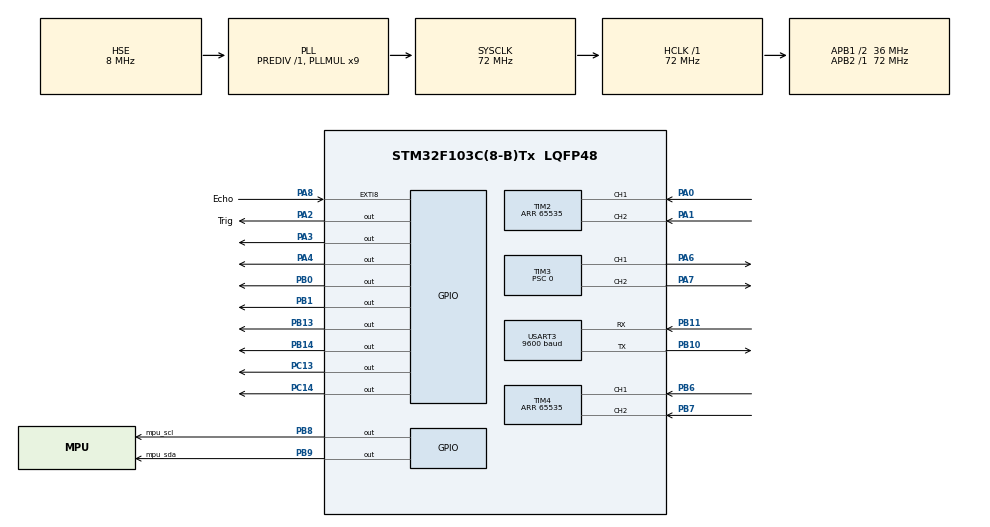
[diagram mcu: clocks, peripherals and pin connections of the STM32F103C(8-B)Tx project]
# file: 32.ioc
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Dma.Request0=USART3_RX
Dma.Request1=USART3_TX
Dma.USART3_RX.0.Direction=DMA_PERIPH_TO_MEMORY
Dma.USART3_RX.0.Instance=DMA1_Channel3
Dma.USART3_RX.0.MemDataAlignment=DMA_MDATAALIGN_BYTE
Dma.USART3_RX.0.MemInc=DMA_MINC_ENABLE
Dma.USART3_RX.0.Mode=DMA_NORMAL
Dma.USART3_RX.0.PeriphDataAlignment=DMA_PDATAALIGN_BYTE
Dma.USART3_RX.0.PeriphInc=DMA_PINC_DISABLE
Dma.USART3_RX.0.Priority=DMA_PRIORITY_LOW
Dma.USART3_TX.1.Direction=DMA_MEMORY_TO_PERIPH
Dma.USART3_TX.1.Instance=DMA1_Channel2
Dma.USART3_TX.1.MemDataAlignment=DMA_MDATAALIGN_BYTE
Dma.USART3_TX.1.MemInc=DMA_MINC_ENABLE
Dma.USART3_TX.1.Mode=DMA_NORMAL
Dma.USART3_TX.1.PeriphDataAlignment=DMA_PDATAALIGN_BYTE
Dma.USART3_TX.1.PeriphInc=DMA_PINC_DISABLE
Dma.USART3_TX.1.Priority=DMA_PRIORITY_LOW
FREERTOS.Tasks01=Task_200HZ,1,128,StartTask_200HZ,Default,NULL,Dynamic,NULL,NULL;Task_100HZ,-3,128,StartTask_100HZ,Default,NULL,Dynamic,NULL,NULL;Task_5HZ,-3,128,StartTask_5HZ,Default,NULL,Dynamic,NULL,NULL;Task_Interactio,-3,128,StartTask_Interaction,Default,NULL,Dynamic,NULL,NULL;sw1_pwm_task,-3,128,Start_sw_1Task,Default,NULL,Dynamic,NULL,NULL
FREERTOS.configTOTAL_HEAP_SIZE=10000
Mcu.Family=STM32F1
Mcu.Name=STM32F103C(8-B)Tx
Mcu.Package=LQFP48
NVIC.DMA1_Channel2_IRQn=true\:5\:0\:false\:false\:true\:true\:false\:true\:true
NVIC.DMA1_Channel3_IRQn=true\:5\:0\:false\:false\:true\:true\:false\:true\:true
NVIC.EXTI9_5_IRQn=true\:5\:0\:false\:false\:true\:true\:true\:true\:true
NVIC.PriorityGroup=NVIC_PRIORITYGROUP_4
NVIC.TIM1_UP_IRQn=true\:0\:0\:false\:false\:true\:false\:false\:true\:true
NVIC.TIM3_IRQn=true\:5\:0\:false\:false\:true\:true\:true\:true\:true
NVIC.TimeBase=TIM1_UP_IRQn
NVIC.TimeBaseIP=TIM1
NVIC.USART3_IRQn=true\:5\:0\:false\:false\:true\:true\:true\:true\:true
PA0-WKUP.Signal=S_TIM2_CH1_ETR
PA1.Signal=S_TIM2_CH2
PA13.Mode=Serial_Wire
PA13.Signal=SYS_JTMS-SWDIO
PA14.Mode=Serial_Wire
PA14.Signal=SYS_JTCK-SWCLK
PA2.GPIO_Label=Trig
PA2.Signal=GPIO_Output
PA3.GPIO_ModeDefaultOutputPP=GPIO_MODE_OUTPUT_PP
PA3.PinState=GPIO_PIN_RESET
PA3.Signal=GPIO_Output
PA4.GPIO_ModeDefaultOutputPP=GPIO_MODE_OUTPUT_PP
PA4.Signal=GPIO_Output
PA6.Signal=S_TIM3_CH1
PA7.Signal=S_TIM3_CH2
PA8.GPIO_Label=Echo
PA8.GPIO_ModeDefaultEXTI=GPIO_MODE_IT_RISING_FALLING
PA8.Signal=GPXTI8
PB0.Signal=GPIO_Output
PB1.GPIO_ModeDefaultOutputPP=GPIO_MODE_OUTPUT_PP
PB1.Signal=GPIO_Output
PB10.Mode=Asynchronous
PB10.Signal=USART3_TX
PB11.Mode=Asynchronous
PB11.Signal=USART3_RX
PB13.Signal=GPIO_Output
PB14.Signal=GPIO_Output
PB6.Signal=S_TIM4_CH1
PB7.Signal=S_TIM4_CH2
PB8.GPIO_Label=mpu_scl
PB8.GPIO_PuPd=GPIO_PULLUP
PB8.PinState=GPIO_PIN_SET
PB8.Signal=GPIO_Output
PB9.GPIO_Label=mpu_sda
PB9.GPIO_PuPd=GPIO_PULLUP
PB9.PinState=GPIO_PIN_SET
PB9.Signal=GPIO_Output
PC13-TAMPER-RTC.Signal=GPIO_Output
PC14-OSC32_IN.Signal=GPIO_Output
PD0-OSC_IN.Mode=HSE-External-Oscillator
PD0-OSC_IN.Signal=RCC_OSC_IN
PD1-OSC_OUT.Mode=HSE-External-Oscillator
PD1-OSC_OUT.Signal=RCC_OSC_OUT
ProjectManager.HeapSize=0x200
ProjectManager.StackSize=0x400
ProjectManager.TargetToolchain=MDK-ARM V5
RCC.AHBFreq_Value=72000000
RCC.APB1CLKDivider=RCC_HCLK_DIV2
RCC.APB1Freq_Value=36000000
RCC.APB1TimFreq_Value=72000000
RCC.APB2Freq_Value=72000000
RCC.APB2TimFreq_Value=72000000
RCC.HCLKFreq_Value=72000000
RCC.PLLMUL=RCC_PLL_MUL9
RCC.PLLSourceVirtual=RCC_PLLSOURCE_HSE
RCC.SYSCLKFreq_VALUE=72000000
RCC.SYSCLKSource=RCC_SYSCLKSOURCE_PLLCLK
RCC.USBFreq_Value=72000000
SH.S_TIM2_CH1_ETR.0=TIM2_CH1,Encoder_Interface
SH.S_TIM2_CH2.0=TIM2_CH2,Encoder_Interface
SH.S_TIM3_CH1.0=TIM3_CH1,PWM Generation1 CH1
SH.S_TIM3_CH2.0=TIM3_CH2,PWM Generation2 CH2
SH.S_TIM4_CH1.0=TIM4_CH1,Encoder_Interface
SH.S_TIM4_CH2.0=TIM4_CH2,Encoder_Interface
TIM2.EncoderMode=TIM_ENCODERMODE_TI12
TIM2.Period=65535
TIM3.Channel-PWM\ Generation1\ CH1=TIM_CHANNEL_1
TIM3.Channel-PWM\ Generation2\ CH2=TIM_CHANNEL_2
TIM3.Channel-PWM\ Generation3\ No\ Output=TIM_CHANNEL_3
TIM3.Channel-PWM\ Generation4\ No\ Output=TIM_CHANNEL_4
TIM3.Period=8000-1
TIM3.Prescaler=0
TIM4.EncoderMode=TIM_ENCODERMODE_TI12
TIM4.Period=65535
USART3.BaudRate=9600
USART3.VirtualMode=VM_ASYNC
VP_FREERTOS_VS_CMSIS_V1.Mode=CMSIS_V1
VP_SYS_VS_tim1.Mode=TIM1
VP_TIM3_VS_no_output3.Mode=PWM Generation3 No Output
VP_TIM3_VS_no_output4.Mode=PWM Generation4 No Output
board=custom

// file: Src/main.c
/* USER CODE BEGIN Header */
/**
  ******************************************************************************
  * @file           : main.c
  * @brief          : Main program body
  ******************************************************************************
  * @attention
  *
  * <h2><center>&copy; Copyright (c) 2022 STMicroelectronics.
  * All rights reserved.</center></h2>
  *
  * This software component is licensed by ST under BSD 3-Clause license,
  * the "License"; You may not use this file except in compliance with the
  * License. You may obtain a copy of the License at:
  *                        opensource.org/licenses/BSD-3-Clause
  *
  ******************************************************************************
  */
/* USER CODE END Header */

#include "main.h"
#include "cmsis_os.h"
#include "dma.h"
#include "tim.h"
#include "usart.h"
#include "gpio.h"

/* USER CODE BEGIN Includes */
#include "math.h"
#include "stdio.h"
#include "echo.h"
#include "delay.h"
#include "my_usart.h"
/* USER CODE END Includes */

/* USER CODE BEGIN PV */
double brightNess ;
short temp_mpu;
uint8_t buf[5];
/* USER CODE END PV */

void SystemClock_Config(void);
void MX_FREERTOS_Init(void);

/* USER CODE BEGIN 0 */
int fputc(int ch,FILE *fp)
{
    while(!(USART3->SR&(1<<7)));

    USART3->DR = ch;
    return ch;
}
/**
  * 函数功能: 重定向c库函数getchar,scanf到DEBUG_USARTx
  * 输入参数: 无
  * 返 回 值: 无
  * 说    明：无
  */
int fgetc(FILE *f)
{
    uint8_t ch = 0;
    HAL_UART_Receive(&huart3, &ch, 1, 0xffff);
    return ch;
}
/* USER CODE END 0 */

int main(void)
{

  /* MCU Configuration--------------------------------------------------------*/

  /* Reset of all peripherals, Initializes the Flash interface and the Systick. */

  	HAL_Init();

  /* Configure the system clock */
  SystemClock_Config();

  /* Initialize all configured peripherals */
  MX_GPIO_Init();
  MX_DMA_Init();
  MX_TIM3_Init();
  MX_TIM2_Init();
  MX_USART3_UART_Init();
  MX_TIM4_Init();
  /* USER CODE BEGIN 2 */
    //	HAL_TIM_IC_Start_IT(&htim1, TIM_CHANNEL_4);//超声波中断
    printf("Hello,this is zbz's banlance car.\n");
		User_USART_Init(&BT_Data);
		// 加入DMA空闲中断
    HAL_UART_Receive_DMA(&huart3,BT_Data.RxBuffer,RXBUFFER_LEN);
		__HAL_UART_ENABLE_IT(&huart3,UART_IT_IDLE);//开启串口空闲中断

    __HAL_TIM_ENABLE_IT(&htim3, TIM_IT_UPDATE);
    HAL_TIM_PWM_Start (&htim3,TIM_CHANNEL_1);
    HAL_TIM_PWM_Start (&htim3,TIM_CHANNEL_2);
    HAL_TIM_PWM_Start_IT(&htim3,TIM_CHANNEL_3 );
    HAL_TIM_PWM_Start_IT (&htim3,TIM_CHANNEL_4 );
    HAL_TIM_Encoder_Start(&htim2, TIM_CHANNEL_ALL);//启动左编码器
    HAL_TIM_Encoder_Start(&htim4, TIM_CHANNEL_ALL);//启动右编码器

  /* USER CODE END 2 */

  /* Call init function for freertos objects (in freertos.c) */
  MX_FREERTOS_Init();
  /* Start scheduler */
  osKernelStart();

  /* We should never get here as control is now taken by the scheduler */
  /* Infinite loop */
  /* USER CODE BEGIN WHILE */
    while (1)
    {

//        if(normalspeed == 0)
//            dir = 1;
//        else if(normalspeed == maxspeed)
//            dir = 0;
//        if(dir ==1)
//            normalspeed++;
//        else
//            normalspeed--;
//				__HAL_TIM_SET_COMPARE(&htim3,TIM_CHANNEL_1,normalspeed );
//				__HAL_TIM_SET_COMPARE(&htim3,TIM_CHANNEL_2,normalspeed );
//				HAL_GPIO_WritePin(GPIOB,GPIO_PIN_0,GPIO_PIN_RESET);
//				HAL_GPIO_WritePin(GPIOB,GPIO_PIN_0,GPIO_PIN_RESET);
//
//				HAL_GPIO_WritePin(GPIOA,GPIO_PIN_3,GPIO_PIN_RESET);
//				HAL_GPIO_WritePin(GPIOA,GPIO_PIN_4,GPIO_PIN_RESET);
//        HAL_Delay(100);

    /* USER CODE END WHILE */

    }
}

void SystemClock_Config(void)
{
  RCC_OscInitTypeDef RCC_OscInitStruct = {0};
  RCC_ClkInitTypeDef RCC_ClkInitStruct = {0};

  /** Initializes the CPU, AHB and APB busses clocks
  */
  RCC_OscInitStruct.OscillatorType = RCC_OSCILLATORTYPE_HSE;
  RCC_OscInitStruct.HSEState = RCC_HSE_ON;
  RCC_OscInitStruct.HSEPredivValue = RCC_HSE_PREDIV_DIV1;
  RCC_OscInitStruct.HSIState = RCC_HSI_ON;
  RCC_OscInitStruct.PLL.PLLState = RCC_PLL_ON;
  RCC_OscInitStruct.PLL.PLLSource = RCC_PLLSOURCE_HSE;
  RCC_OscInitStruct.PLL.PLLMUL = RCC_PLL_MUL9;
  if (HAL_RCC_OscConfig(&RCC_OscInitStruct) != HAL_OK)
  {
    Error_Handler();
  }
  /** Initializes the CPU, AHB and APB busses clocks
  */
  RCC_ClkInitStruct.ClockType = RCC_CLOCKTYPE_HCLK|RCC_CLOCKTYPE_SYSCLK
                              |RCC_CLOCKTYPE_PCLK1|RCC_CLOCKTYPE_PCLK2;
  RCC_ClkInitStruct.SYSCLKSource = RCC_SYSCLKSOURCE_PLLCLK;
  RCC_ClkInitStruct.AHBCLKDivider = RCC_SYSCLK_DIV1;
  RCC_ClkInitStruct.APB1CLKDivider = RCC_HCLK_DIV2;
  RCC_ClkInitStruct.APB2CLKDivider = RCC_HCLK_DIV1;

  if (HAL_RCC_ClockConfig(&RCC_ClkInitStruct, FLASH_LATENCY_2) != HAL_OK)
  {
    Error_Handler();
  }
}

/* USER CODE BEGIN 4 */
void HAL_TIM_PWM_PulseFinishedCallback(TIM_HandleTypeDef *htim)
{
    if(htim->Channel == HAL_TIM_ACTIVE_CHANNEL_3)
    {

        GPIOA->BRR = GPIO_PIN_3;
    } else if(htim->Channel == HAL_TIM_ACTIVE_CHANNEL_4)
    {
        GPIOA->BRR = GPIO_PIN_4;
    }

}

/* USER CODE END 4 */

 /**
  * @brief  Period elapsed callback in non blocking mode
  * @note   This function is called  when TIM1 interrupt took place, inside
  * HAL_TIM_IRQHandler(). It makes a direct call to HAL_IncTick() to increment
  * a global variable "uwTick" used as application time base.
  * @param  htim : TIM handle
  * @retval None
  */
void HAL_TIM_PeriodElapsedCallback(TIM_HandleTypeDef *htim)
{
  /* USER CODE BEGIN Callback 0 */
    if(TIM3->CCR3 != 0)
        GPIOA->BSRR = GPIO_PIN_3;
    if(TIM3->CCR4 != 0)
        GPIOA->BSRR = GPIO_PIN_4;
  /* USER CODE END Callback 0 */
  if (htim->Instance == TIM1) {
    HAL_IncTick();
  }
}

void Error_Handler(void)
{
}

/************************ (C) COPYRIGHT STMicroelectronics *****END OF FILE****/

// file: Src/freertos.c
/* USER CODE BEGIN Header */
/**
  ******************************************************************************
  * File Name          : freertos.c
  * Description        : Code for freertos applications
  ******************************************************************************
  * @attention
  *
  * <h2><center>&copy; Copyright (c) 2022 STMicroelectronics.
  * All rights reserved.</center></h2>
  *
  * This software component is licensed by ST under Ultimate Liberty license
  * SLA0044, the "License"; You may not use this file except in compliance with
  * the License. You may obtain a copy of the License at:
  *                             www.st.com/SLA0044
  *
  ******************************************************************************
  */
/* USER CODE END Header */

#include "FreeRTOS.h"
#include "task.h"
#include "main.h"
#include "cmsis_os.h"
#include "my_usart.h"
/* USER CODE BEGIN Includes */
#include "stdio.h"
#include "echo.h"
#include "mpu6050.h"
#include "CAR_TASK.h"
#include "inv_mpu.h"
#include "tim.h"
#include "dma.h"
#include "oled.h"
#include "usart.h"
/* USER CODE END Includes */

osThreadId Task_200HZHandle;
osThreadId Task_100HZHandle;
osThreadId Task_5HZHandle;
osThreadId Task_InteractioHandle;
osThreadId sw1_pwm_taskHandle;

void StartTask_200HZ(void const * argument);
void StartTask_100HZ(void const * argument);
//void StartTask_5HZ(void const * argument);
void StartTask_Interaction(void const * argument);
//void Start_sw_1Task(void const * argument);
void StartTask_5HZ(void const * argument);
void MX_FREERTOS_Init(void); /* (MISRA C 2004 rule 8.1) */

/* GetIdleTaskMemory prototype (linked to static allocation support) */
void vApplicationGetIdleTaskMemory( StaticTask_t **ppxIdleTaskTCBBuffer, StackType_t **ppxIdleTaskStackBuffer, uint32_t *pulIdleTaskStackSize );

/* USER CODE BEGIN GET_IDLE_TASK_MEMORY */
static StaticTask_t xIdleTaskTCBBuffer;
static StackType_t xIdleStack[configMINIMAL_STACK_SIZE];

void vApplicationGetIdleTaskMemory( StaticTask_t **ppxIdleTaskTCBBuffer, StackType_t **ppxIdleTaskStackBuffer, uint32_t *pulIdleTaskStackSize )
{
    *ppxIdleTaskTCBBuffer = &xIdleTaskTCBBuffer;
    *ppxIdleTaskStackBuffer = &xIdleStack[0];
    *pulIdleTaskStackSize = configMINIMAL_STACK_SIZE;
    /* place for user code */
}
/* USER CODE END GET_IDLE_TASK_MEMORY */

void MX_FREERTOS_Init(void) {

  /* Create the thread(s) */
  /* definition and creation of Task_200HZ */
  osThreadDef(Task_200HZ, StartTask_200HZ, osPriorityAboveNormal, 0, 128);
  Task_200HZHandle = osThreadCreate(osThread(Task_200HZ), NULL);

  /* definition and creation of Task_100HZ */
  osThreadDef(Task_100HZ, StartTask_100HZ, osPriorityIdle, 0, 128);
  Task_100HZHandle = osThreadCreate(osThread(Task_100HZ), NULL);

  /* definition and creation of Task_5HZ */
//  osThreadDef(Task_5HZ, StartTask_5HZ, osPriorityIdle, 0, 128);
//  Task_5HZHandle = osThreadCreate(osThread(Task_5HZ), NULL);

  /* definition and creation of Task_Interactio */
//  osThreadDef(Task_Interactio, StartTask_Interaction, osPriorityIdle, 0, 128);
//  Task_InteractioHandle = osThreadCreate(osThread(Task_Interactio), NULL);

  /* definition and creation of sw1_pwm_task */
//  osThreadDef(sw1_pwm_task, Start_sw_1Task, osPriorityIdle, 0, 128);
//  sw1_pwm_taskHandle = osThreadCreate(osThread(sw1_pwm_task), NULL);

}

void StartTask_200HZ(void const * argument)
{
  /* USER CODE BEGIN StartTask_200HZ */

    //MPU_Init();
    //mpu_dmp_init();

		vTaskSuspendAll() ;

    while(mpu_dmp_init()) {}
//		printf("200HZ start\n");
		//osDelay(10);
		OLED_Init();
	  OLED_CLS();
		OLED_ShowStr (1,1,"pitch:",1);
		OLED_ShowStr (1,3,"roll:",1);
		OLED_ShowStr (1,5,"yaw:",1);
		OLED_ShowStr (35,7,"by HF22",1);
		xTaskResumeAll() ;

    /* Infinite loop */
    for(;;)
    {
			//vTaskSuspendAll() ;//�ٽ���뱣����ʼ
//			Car_Task_Interaction();
			Car_Task_200HZ();
			//xTaskResumeAll() ; //�ٽ���뱣������
// 	 Car_Task_Interaction();
      osDelay(5);
    }
  /* USER CODE END StartTask_200HZ */
}

void StartTask_100HZ(void const * argument)
{
  /* USER CODE BEGIN StartTask_100HZ */
//    printf("100HZ start\n");
    /* Infinite loop */
    for(;;)
    {
        Car_Task_100HZ();
        osDelay(10);
    }
  /* USER CODE END StartTask_100HZ */
}

void StartTask_5HZ(void const * argument)
{
  /* USER CODE BEGIN StartTask_5HZ */
    //printf("5HZ start\n");
//		__HAL_UART_ENABLE_IT(&huart3,UART_IT_IDLE);
//    HAL_UART_Receive_DMA(&huart3,BT_Data.RxBuffer,sizeof(BT_Data.RxBuffer));
    /* Infinite loop */
    for(;;)
    {
      osDelay(6000);
        Car_Task_5HZ();

    }
  /* USER CODE END StartTask_5HZ */
}

//void StartTask_Interaction(void const * argument)
//{
//  /* USER CODE BEGIN StartTask_Interaction */
//		vTaskSuspendAll() ;//�ٽ���뱣����ʼ
//    printf("Interaction start\n");
//		xTaskResumeAll() ; //�ٽ���뱣������
//    //HAL_StatusTypeDef HAL_UART_Receive_DMA(&huart3, uint8_t *pData, 255);
//    /* Infinite loop */
//    for(;;)
//    {
//			vTaskSuspendAll() ;//�ٽ���뱣����ʼ
//			Car_Task_Interaction();
//			xTaskResumeAll() ; //�ٽ���뱣������
//        osDelay(200);
//    }
//  /* USER CODE END StartTask_Interaction */
//}

//void Start_sw_1Task(void const * argument)
//{
//  /* USER CODE BEGIN Start_sw_1Task */
//    /* Infinite loop */
//    for(;;)
//    {
////			motor();
////        HAL_GPIO_WritePin(GPIOC,GPIO_PIN_13,GPIO_PIN_SET);
////        osDelay(200);
////        HAL_GPIO_WritePin(GPIOC,GPIO_PIN_13,GPIO_PIN_RESET);
////        osDelay(200);
////        HAL_GPIO_WritePin(GPIOC,GPIO_PIN_13,GPIO_PIN_SET);
////        osDelay(200);
////        HAL_GPIO_WritePin(GPIOC,GPIO_PIN_13,GPIO_PIN_RESET);
//        osDelay(1000);
//    }
//  /* USER CODE END Start_sw_1Task */
//}

/************************ (C) COPYRIGHT STMicroelectronics *****END OF FILE****/
